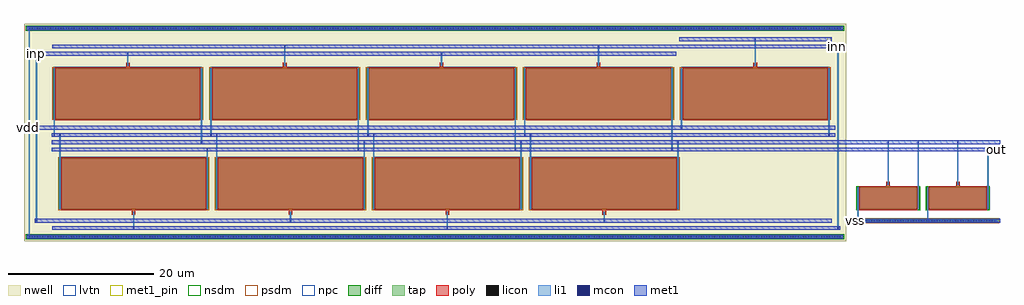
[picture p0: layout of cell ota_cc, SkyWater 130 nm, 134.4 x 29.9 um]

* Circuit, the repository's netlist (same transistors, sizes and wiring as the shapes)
* NGSPICE file created from ota_cc.ext - technology: sky130A

.subckt ota_cc inp inn out vb vdd vss
X0 out inn a_n58_0# vdd sky130_fd_pr__pfet_01v8_lvt ad=2.03 pd=14.58 as=2.03 ps=14.58 w=7 l=20
X1 a_4000_0# a_4000_0# vss vss sky130_fd_pr__nfet_01v8 ad=0.87 pd=6.58 as=0.87 ps=6.58 w=3 l=8
X2 a_4000_0# inp a_n58_0# vdd sky130_fd_pr__pfet_01v8_lvt ad=2.03 pd=14.58 as=2.03 ps=14.58 w=7 l=20
X3 a_n58_0# vb vdd vdd sky130_fd_pr__pfet_01v8_lvt ad=2.03 pd=14.58 as=2.03 ps=14.58 w=7 l=20
X4 out inn a_n58_0# vdd sky130_fd_pr__pfet_01v8_lvt ad=2.03 pd=14.58 as=2.03 ps=14.58 w=7 l=20
X5 out inp a_n58_0# vdd sky130_fd_pr__pfet_01v8_lvt ad=2.03 pd=14.58 as=2.03 ps=14.58 w=7 l=20
X6 a_4000_0# inp a_n58_0# vdd sky130_fd_pr__pfet_01v8_lvt ad=2.03 pd=14.58 as=2.03 ps=14.58 w=7 l=20
X7 out a_4000_0# vss vss sky130_fd_pr__nfet_01v8 ad=0.87 pd=6.58 as=0.87 ps=6.58 w=3 l=8
X8 out inn a_n58_0# vdd sky130_fd_pr__pfet_01v8_lvt ad=2.03 pd=14.58 as=2.03 ps=14.58 w=7 l=20
X9 a_4000_0# inn a_n58_0# vdd sky130_fd_pr__pfet_01v8_lvt ad=2.03 pd=14.58 as=2.03 ps=14.58 w=7 l=20
X10 a_4000_0# inp a_n58_0# vdd sky130_fd_pr__pfet_01v8_lvt ad=2.03 pd=14.58 as=2.03 ps=14.58 w=7 l=20
.ends

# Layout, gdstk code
import gdstk
lib = gdstk.Library(unit=1e-6, precision=1e-09)
def R(c, l, rs):  # rectangles x0, y0, x1, y1
    for r in rs: c.add(gdstk.rectangle(r[:2], r[2:], *l))
def A(c, l, x, y, w, h, nx, ny, dx, dy):  # array of equal rectangles
    R(c, l, [(x+i*dx, y+j*dy, x+i*dx+w, y+j*dy+h) for i in range(nx) for j in range(ny)])
nwell = (64, 20)
diff = (65, 20)
tap = (65, 44)
poly = (66, 20)
licon = (66, 44)
li1 = (67, 20)
mcon = (67, 44)
met1_pin = (68, 16)
met1 = (68, 20)
nsdm = (93, 44)
psdm = (94, 20)
npc = (95, 20)
lvtn = (125, 44)

ota_cc = lib.new_cell('ota_cc')
R(ota_cc, nwell, [(-4.3,-16.8,108.9,13.1)])
A(ota_cc, diff, 0.51, -12.4, 20.58, 7, 4, 1, 21.6, 0)
A(ota_cc, diff, -0.29, 0, 20.58, 7, 5, 1, 21.6, 0)
R(ota_cc, diff, [(110.41,-12.4,118.99,-9.4), (120.01,-12.4,128.59,-9.4)])
R(ota_cc, tap, [(-3.9,-16.41,108.5,-15.99), (110.1,-14.21,129.9,-13.79), (-3.9,12.29,108.5,12.71)])
A(ota_cc, poly, 10.55, -13.15, 0.5, 0.62, 4, 1, 21.6, 0)
A(ota_cc, poly, 0.8, -12.53, 20, 7.26, 4, 1, 21.6, 0)
A(ota_cc, poly, 0, -0.13, 20, 7.26, 5, 1, 21.6, 0)
A(ota_cc, poly, 9.75, 7.13, 0.5, 0.62, 5, 1, 21.6, 0)
R(ota_cc, poly, [(110.7,-12.53,118.7,-9.27), (120.3,-12.53,128.3,-9.27), (114.45,-9.27,114.95,-8.65), (124.05,-9.27,124.55,-8.65)])
A(ota_cc, licon, -3.545, -16.285, 0.17, 0.17, 329, 2, 0.34, 28.7)
A(ota_cc, licon, 110.565, -14.085, 0.17, 0.17, 56, 1, 0.34, 0)
A(ota_cc, licon, 10.715, -13.02, 0.17, 0.17, 4, 1, 21.6, 0)
A(ota_cc, licon, 0.57, -12.215, 0.17, 0.17, 1, 20, 0, 0.34)
A(ota_cc, licon, 20.86, -12.215, 0.17, 0.17, 1, 20, 0, 0.34)
A(ota_cc, licon, 22.17, -12.215, 0.17, 0.17, 1, 20, 0, 0.34)
A(ota_cc, licon, 42.46, -12.215, 0.17, 0.17, 1, 20, 0, 0.34)
A(ota_cc, licon, 43.77, -12.215, 0.17, 0.17, 1, 20, 0, 0.34)
A(ota_cc, licon, 64.06, -12.215, 0.17, 0.17, 1, 20, 0, 0.34)
A(ota_cc, licon, 65.37, -12.215, 0.17, 0.17, 1, 20, 0, 0.34)
A(ota_cc, licon, 85.66, -12.215, 0.17, 0.17, 1, 20, 0, 0.34)
A(ota_cc, licon, 110.47, -12.175, 0.17, 0.17, 1, 8, 0, 0.34)
A(ota_cc, licon, 118.76, -12.175, 0.17, 0.17, 1, 8, 0, 0.34)
A(ota_cc, licon, 120.07, -12.175, 0.17, 0.17, 1, 8, 0, 0.34)
A(ota_cc, licon, 128.36, -12.175, 0.17, 0.17, 1, 8, 0, 0.34)
A(ota_cc, licon, -0.23, 0.185, 0.17, 0.17, 1, 20, 0, 0.34)
A(ota_cc, licon, 20.06, 0.185, 0.17, 0.17, 1, 20, 0, 0.34)
A(ota_cc, licon, 21.37, 0.185, 0.17, 0.17, 1, 20, 0, 0.34)
A(ota_cc, licon, 41.66, 0.185, 0.17, 0.17, 1, 20, 0, 0.34)
A(ota_cc, licon, 42.97, 0.185, 0.17, 0.17, 1, 20, 0, 0.34)
A(ota_cc, licon, 63.26, 0.185, 0.17, 0.17, 1, 20, 0, 0.34)
A(ota_cc, licon, 64.57, 0.185, 0.17, 0.17, 1, 20, 0, 0.34)
A(ota_cc, licon, 84.86, 0.185, 0.17, 0.17, 1, 20, 0, 0.34)
A(ota_cc, licon, 86.17, 0.185, 0.17, 0.17, 1, 20, 0, 0.34)
A(ota_cc, licon, 106.46, 0.185, 0.17, 0.17, 1, 20, 0, 0.34)
A(ota_cc, licon, 9.915, 7.45, 0.17, 0.17, 5, 1, 21.6, 0)
R(ota_cc, licon, [(114.615,-8.95,114.785,-8.78), (124.215,-8.95,124.385,-8.78)])
A(ota_cc, li1, 0.57, -12.42, 0.17, 10.47, 4, 1, 21.6, 0)
A(ota_cc, li1, 42.46, -12.42, 0.17, 9.47, 3, 1, 21.6, 0)
A(ota_cc, li1, 41.66, -4.45, 0.17, 11.47, 3, 1, 21.6, 0)
A(ota_cc, li1, -0.23, -2.45, 0.17, 9.47, 4, 1, 21.6, 0)
R(ota_cc, li1, [(-3.65,-16.45,-3.48,-16.285), (-3.7,-16.285,108.3,-16.115), (-3.65,-16.115,-3.48,12.415), (10.715,-15.25,10.885,-12.77), (53.915,-15.25,54.085,-12.77), (107.7,-15.25,107.87,10.25), (-2.65,-14.25,-2.48,9.25), (32.315,-14.25,32.485,-12.77), (75.515,-14.25,75.685,-12.77), (110.47,-14.25,110.64,-14.085), (120.07,-14.25,120.24,-14.085), (110.3,-14.085,129.7,-13.915), (110.47,-13.915,110.64,-9.38), (120.07,-13.915,120.24,-9.38), (20.86,-12.42,21.03,-3.95), (118.76,-12.42,118.93,-2.95), (128.36,-12.42,128.53,-3.95), (114.615,-9.03,114.785,-2.95), (124.215,-9.03,124.385,-2.95), (20.06,-3.45,20.23,7.02), (106.46,-2.45,106.63,7.02), (86.17,-1.45,86.34,7.02), (9.915,7.37,10.085,9.25), (31.515,7.37,31.685,10.25), (53.115,7.37,53.285,9.25), (74.715,7.37,74.885,10.25), (96.315,7.37,96.485,11.25), (-3.7,12.415,108.3,12.585), (-3.65,12.585,-3.48,12.75)])
A(ota_cc, mcon, -3.61, -16.285, 0.17, 0.17, 311, 2, 0.36, 28.7)
A(ota_cc, mcon, 110.555, -14.085, 0.17, 0.17, 53, 1, 0.36, 0)
A(ota_cc, mcon, 41.66, -4.285, 0.17, 0.17, 3, 1, 21.6, 0)
A(ota_cc, mcon, 42.46, -3.285, 0.17, 0.17, 3, 1, 21.6, 0)
R(ota_cc, mcon, [(10.715,-15.085,10.885,-14.915), (53.915,-15.085,54.085,-14.915), (107.7,-15.085,107.87,-14.915), (-2.65,-14.085,-2.48,-13.915), (32.315,-14.085,32.485,-13.915), (75.515,-14.085,75.685,-13.915), (20.86,-4.285,21.03,-4.115), (128.36,-4.285,128.53,-4.115), (20.06,-3.285,20.23,-3.115), (114.615,-3.285,114.785,-3.115), (118.76,-3.285,118.93,-3.115), (124.215,-3.285,124.385,-3.115), (-0.23,-2.285,-0.06,-2.115), (0.57,-2.285,0.74,-2.115), (21.37,-2.285,21.54,-2.115), (22.17,-2.285,22.34,-2.115), (42.97,-2.285,43.14,-2.115), (43.77,-2.285,43.94,-2.115), (64.57,-2.285,64.74,-2.115), (65.37,-2.285,65.54,-2.115), (106.46,-2.285,106.63,-2.115), (-3.65,-1.285,-3.48,-1.115), (86.17,-1.285,86.34,-1.115), (-2.65,8.915,-2.48,9.085), (9.915,8.915,10.085,9.085), (53.115,8.915,53.285,9.085), (31.515,9.915,31.685,10.085), (74.715,9.915,74.885,10.085), (107.7,9.915,107.87,10.085), (96.315,10.915,96.485,11.085)])
R(ota_cc, met1_pin, [(109.9,-14.25,110.4,-13.75), (129.4,-4.45,129.9,-3.95), (-3.9,-1.45,-3.4,-0.95), (-2.8,8.75,-2.3,9.25), (107.5,9.75,108,10.25), (106.3,10.75,106.8,11.25)])
R(ota_cc, met1, [(-3.9,-16.45,108.5,-15.95), (-0.4,-15.25,108.1,-14.75), (-2.8,-14.25,106.9,-13.75), (109.9,-14.25,130.1,-13.75), (-0.5,-4.45,130.1,-3.95), (-0.5,-3.45,130.1,-2.95), (-0.5,-2.45,107.4,-1.95), (-3.9,-1.45,107.4,-0.95), (-2.8,8.75,85.5,9.25), (-0.4,9.75,108.1,10.25), (85.9,10.75,106.9,11.25), (-3.9,12.25,108.5,12.75)])
R(ota_cc, nsdm, [(-4.025,-16.535,108.625,-15.865), (110.285,-12.525,119.115,-9.275), (119.885,-12.525,128.715,-9.275), (-4.025,12.165,108.625,12.835)])
A(ota_cc, psdm, 0.385, -12.525, 20.83, 7.25, 4, 1, 21.6, 0)
A(ota_cc, psdm, -0.415, -0.125, 20.83, 7.25, 5, 1, 21.6, 0)
R(ota_cc, psdm, [(109.975,-14.335,130.025,-13.665)])
A(ota_cc, npc, 10.615, -13.12, 0.37, 0.37, 4, 1, 21.6, 0)
A(ota_cc, npc, 9.815, 7.35, 0.37, 0.37, 5, 1, 21.6, 0)
R(ota_cc, npc, [(114.515,-9.05,114.885,-8.68), (124.115,-9.05,124.485,-8.68)])
A(ota_cc, lvtn, 0.62, -12.58, 20.36, 7.36, 4, 1, 21.6, 0)
A(ota_cc, lvtn, -0.18, -0.18, 20.36, 7.36, 5, 1, 21.6, 0)
ota_cc.add(gdstk.Label('inp', (-2.55,9), layer=68, texttype=5))
ota_cc.add(gdstk.Label('inn', (107.75,10), layer=68, texttype=5))
ota_cc.add(gdstk.Label('out', (129.65,-4.2), layer=68, texttype=5))
ota_cc.add(gdstk.Label('vb', (106.55,11), layer=68, texttype=5))
ota_cc.add(gdstk.Label('vdd', (-3.65,-1.2), layer=68, texttype=5))
ota_cc.add(gdstk.Label('vss', (110.15,-14), layer=68, texttype=5))

lib.write_gds('ota_cc.gds')
